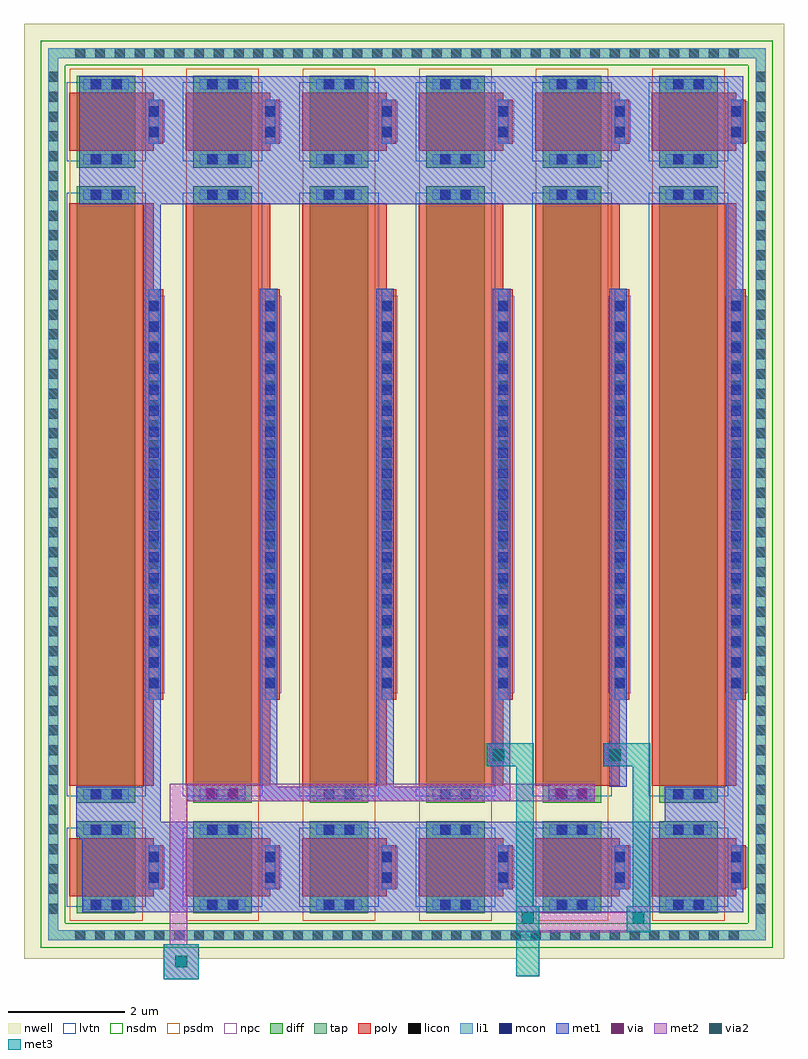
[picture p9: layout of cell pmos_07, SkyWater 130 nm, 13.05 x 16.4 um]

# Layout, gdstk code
from math import pi, radians
import gdstk
lib = gdstk.Library(unit=1e-6, precision=1e-09)
def R(c, l, rs):  # rectangles x0, y0, x1, y1
    for r in rs: c.add(gdstk.rectangle(r[:2], r[2:], *l))
def A(c, l, x, y, w, h, nx, ny, dx, dy):  # array of equal rectangles
    R(c, l, [(x+i*dx, y+j*dy, x+i*dx+w, y+j*dy+h) for i in range(nx) for j in range(ny)])
nwell = (64, 20)
diff = (65, 20)
tap = (65, 44)
poly = (66, 20)
licon = (66, 44)
li1 = (67, 20)
mcon = (67, 44)
met1 = (68, 20)
via = (68, 44)
met2 = (69, 20)
via2 = (69, 44)
met3 = (70, 20)
nsdm = (93, 44)
psdm = (94, 20)
npc = (95, 20)
lvtn = (125, 44)

sky130_fd_pr__pfet_01v8_ = lib.new_cell('sky130_fd_pr__pfet_01v8_lvt_76U4T2')
R(sky130_fd_pr__pfet_01v8_, nwell, [(-5.47,-0.99,5.47,0.82)])
R(sky130_fd_pr__pfet_01v8_, diff, [(-5.29,-0.68,5.29,0.32)])
R(sky130_fd_pr__pfet_01v8_, poly, [(-5,-0.81,5,0.64), (-3.525,0.64,3.525,0.805)])
A(sky130_fd_pr__pfet_01v8_, licon, -3.315, 0.555, 0.17, 0.17, 20, 1, 0.34, 0)
R(sky130_fd_pr__pfet_01v8_, licon, [(-5.23,-0.435,-5.06,-0.265), (5.06,-0.435,5.23,-0.265), (-5.23,-0.095,-5.06,0.075), (5.06,-0.095,5.23,0.075)])
R(sky130_fd_pr__pfet_01v8_, li1, [(-5.23,-0.57,-5.06,0.21), (5.06,-0.57,5.23,0.21), (-3.525,0.555,3.525,0.725)])
A(sky130_fd_pr__pfet_01v8_, mcon, -3.325, 0.555, 0.17, 0.17, 19, 1, 0.36, 0)
R(sky130_fd_pr__pfet_01v8_, mcon, [(-5.23,-0.445,-5.06,-0.275), (5.06,-0.445,5.23,-0.275), (-5.23,-0.085,-5.06,0.085), (5.06,-0.085,5.23,0.085)])
R(sky130_fd_pr__pfet_01v8_, met1, [(-5.26,-0.55,-5.03,0.19), (5.03,-0.55,5.26,0.19), (-3.505,0.525,3.505,0.755)])
R(sky130_fd_pr__pfet_01v8_, psdm, [(-5.415,-0.805,5.415,0.445)])
R(sky130_fd_pr__pfet_01v8_, npc, [(-3.415,0.455,3.415,0.825)])
R(sky130_fd_pr__pfet_01v8_, lvtn, [(-5.18,-0.86,5.18,0.5)])

c_sky130_fd_pr__pfet_01v8_ = lib.new_cell('sky130_fd_pr__pfet_01v8_lvt_KVZWZ9')
R(c_sky130_fd_pr__pfet_01v8_, nwell, [(-0.97,-0.99,0.97,0.82)])
R(c_sky130_fd_pr__pfet_01v8_, diff, [(-0.79,-0.68,0.79,0.32)])
R(c_sky130_fd_pr__pfet_01v8_, poly, [(-0.5,-0.81,0.5,0.64), (-0.375,0.64,0.375,0.805)])
R(c_sky130_fd_pr__pfet_01v8_, licon, [(-0.73,-0.435,-0.56,-0.265), (0.56,-0.435,0.73,-0.265), (-0.73,-0.095,-0.56,0.075), (0.56,-0.095,0.73,0.075), (-0.255,0.555,-0.085,0.725), (0.085,0.555,0.255,0.725)])
R(c_sky130_fd_pr__pfet_01v8_, li1, [(-0.73,-0.57,-0.56,0.21), (0.56,-0.57,0.73,0.21), (-0.375,0.555,0.375,0.725)])
R(c_sky130_fd_pr__pfet_01v8_, mcon, [(-0.73,-0.445,-0.56,-0.275), (0.56,-0.445,0.73,-0.275), (-0.73,-0.085,-0.56,0.085), (0.56,-0.085,0.73,0.085), (-0.265,0.555,-0.095,0.725), (0.095,0.555,0.265,0.725)])
R(c_sky130_fd_pr__pfet_01v8_, met1, [(-0.76,-0.55,-0.53,0.19), (0.53,-0.55,0.76,0.19), (-0.355,0.525,0.355,0.755)])
R(c_sky130_fd_pr__pfet_01v8_, psdm, [(-0.915,-0.805,0.915,0.445)])
R(c_sky130_fd_pr__pfet_01v8_, npc, [(-0.355,0.455,0.355,0.825)])
R(c_sky130_fd_pr__pfet_01v8_, lvtn, [(-0.68,-0.86,0.68,0.5)])

pmos_07 = lib.new_cell('pmos_07')
R(pmos_07, nwell, [(8.05,-2.8,8.45,-2.5), (-0.4,-2.5,2,-2.3), (2.6,-2.5,12.65,-2.3), (-0.4,-2.3,12.65,13.55)])
R(pmos_07, tap, [(0.015,-2.185,12.335,-2.015), (0.015,-2.015,0.185,12.965), (12.165,-2.015,12.335,12.965), (0.015,12.965,12.335,13.135)])
A(pmos_07, licon, 0.48, -2.185, 0.17, 0.17, 34, 2, 0.34, 15.15)
A(pmos_07, licon, 0.015, -1.725, 0.17, 0.17, 1, 43, 0, 0.34)
A(pmos_07, licon, 12.165, -1.725, 0.17, 0.17, 1, 43, 0, 0.34)
R(pmos_07, li1, [(0.015,-2.185,12.335,-2.015), (0.015,-2.015,0.185,12.965), (12.165,-2.015,12.335,12.965), (0.015,12.965,12.335,13.135)])
R(pmos_07, met1, [(0.6,-1.7,11.95,-0.45), (0.55,-0.45,11.95,-0.4), (0.5,-0.4,11.95,-0.15), (0.5,-0.15,1.95,0.45), (10.6,-0.15,11.95,0.45), (2.4,0.2,3.4,0.5), (3.65,0.2,7.95,0.45), (8.6,0.2,9.4,0.5), (1.65,0.45,1.95,10.45), (3.65,0.45,3.95,9), (5.65,0.45,5.95,9), (7.65,0.45,7.95,0.8), (9.65,0.45,9.95,0.8), (11.65,0.45,11.95,10.45), (7.55,0.8,7.95,1.2), (9.55,0.8,9.95,1.2), (7.65,1.2,7.95,9), (9.65,1.2,9.95,9), (0.55,10.45,11.95,12.65)])
R(pmos_07, via, [(2.725,0.275,2.875,0.425), (3.125,0.275,3.275,0.425), (8.725,0.275,8.875,0.425), (9.125,0.275,9.275,0.425), (7.675,0.925,7.825,1.075), (9.675,0.925,9.825,1.075)])
R(pmos_07, met2, [(2,-2.85,2.6,-2.25), (2.1,-2.25,2.4,0.2), (8.05,-2.05,10.35,-1.7), (8.05,-1.7,8.45,-1.6), (9.95,-1.7,10.35,-1.6), (2.1,0.2,9.4,0.5), (7.55,0.8,7.95,1.2), (9.55,0.8,9.95,1.2)])
R(pmos_07, via2, [(2.2,-2.65,2.4,-2.45), (8.15,-1.9,8.35,-1.7), (10.05,-1.9,10.25,-1.7), (7.65,0.9,7.85,1.1), (9.65,0.9,9.85,1.1)])
R(pmos_07, met3, [(2,-2.85,2.6,-2.25), (8.05,-2.8,8.45,-1.6), (9.95,-2.05,10.35,-1.6), (8.05,-1.6,8.35,0.8), (10.05,-1.6,10.35,0.8), (7.55,0.8,8.35,1.2), (9.55,0.8,10.35,1.2)])
R(pmos_07, nsdm, [(-0.11,-2.31,12.46,-1.89), (-0.11,-1.89,0.31,12.84), (12.04,-1.89,12.46,12.84), (-0.11,12.84,12.46,13.26)])
A(pmos_07, psdm, 0.385, -0.015, 1.25, 0.07, 6, 2, 2, 10.9)
pmos_07.add(gdstk.Reference(sky130_fd_pr__pfet_01v8_, (1.19,5.47), rotation=3*pi/2))
pmos_07.add(gdstk.Reference(c_sky130_fd_pr__pfet_01v8_, (1.19,-0.93), rotation=3*pi/2))
pmos_07.add(gdstk.Reference(c_sky130_fd_pr__pfet_01v8_, (1.19,11.87), rotation=3*pi/2))
pmos_07.add(gdstk.Reference(sky130_fd_pr__pfet_01v8_, (3.19,5.47), rotation=3*pi/2))
pmos_07.add(gdstk.Reference(c_sky130_fd_pr__pfet_01v8_, (3.19,-0.93), rotation=3*pi/2))
pmos_07.add(gdstk.Reference(c_sky130_fd_pr__pfet_01v8_, (3.19,11.87), rotation=3*pi/2))
pmos_07.add(gdstk.Reference(sky130_fd_pr__pfet_01v8_, (5.19,5.47), rotation=3*pi/2))
pmos_07.add(gdstk.Reference(c_sky130_fd_pr__pfet_01v8_, (5.19,-0.93), rotation=3*pi/2))
pmos_07.add(gdstk.Reference(c_sky130_fd_pr__pfet_01v8_, (5.19,11.87), rotation=3*pi/2))
pmos_07.add(gdstk.Reference(sky130_fd_pr__pfet_01v8_, (7.19,5.47), rotation=3*pi/2))
pmos_07.add(gdstk.Reference(c_sky130_fd_pr__pfet_01v8_, (7.19,-0.93), rotation=3*pi/2))
pmos_07.add(gdstk.Reference(c_sky130_fd_pr__pfet_01v8_, (7.19,11.87), rotation=3*pi/2))
pmos_07.add(gdstk.Reference(sky130_fd_pr__pfet_01v8_, (9.19,5.47), rotation=3*pi/2))
pmos_07.add(gdstk.Reference(c_sky130_fd_pr__pfet_01v8_, (9.19,-0.93), rotation=3*pi/2))
pmos_07.add(gdstk.Reference(c_sky130_fd_pr__pfet_01v8_, (9.19,11.87), rotation=3*pi/2))
pmos_07.add(gdstk.Reference(sky130_fd_pr__pfet_01v8_, (11.19,5.47), rotation=3*pi/2))
pmos_07.add(gdstk.Reference(c_sky130_fd_pr__pfet_01v8_, (11.19,-0.93), rotation=3*pi/2))
pmos_07.add(gdstk.Reference(c_sky130_fd_pr__pfet_01v8_, (11.19,11.87), rotation=3*pi/2))

lib.write_gds('pmos_07.gds')
